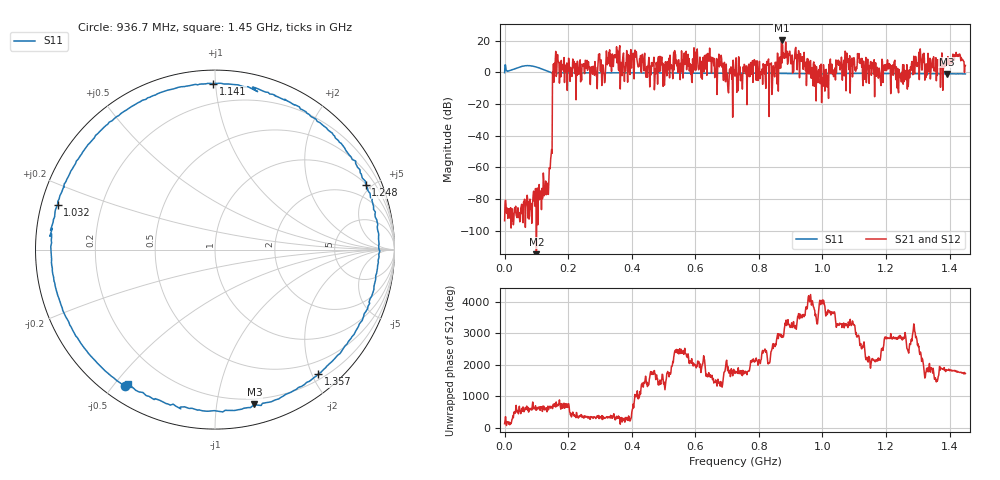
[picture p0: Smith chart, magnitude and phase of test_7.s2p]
! Created with skrf 1.11.0 (http://scikit-rf.org).
# Hz S RI R 50.0
!freq ReS11 ImS11 ReS21 ImS21 ReS12 ImS12 ReS22 ImS22
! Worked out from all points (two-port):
!   1001 points, 50 kHz to 1.45 GHz, reference 50 ohm
!   highest |S21| = 20.16 dB at 871.5 MHz (marker M1); lowest = -117.0 dB at 100.1 MHz (marker M2)
!   |S21| within 3 dB of the highest: 871.0842 MHz to 871.7748 MHz (690.7 kHz wide, 0.0793 % of centre); 874.3212 MHz to 874.4464 MHz (125.2 kHz wide, 0.0143 % of centre) (the widest 2 of 3)
!   lowest |S11| = -1.0 dB at 1.392 GHz (marker M3), VSWR 17.22, Z = 7.67 - j63.7 ohm
!   |S11| at or under -10 dB: nowhere
!   |S22| runs from - to - dB; largest |S21 - S12| = 0
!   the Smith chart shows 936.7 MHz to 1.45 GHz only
!   S11 on the Smith chart (normalised r, x): 936.7 MHz: 0.06, -0.54; 1.032 GHz: 0.05, +0.14; 1.141 GHz: 0.08, +0.99; 1.248 GHz: 1.07, +4.65; 1.357 GHz: 0.28, -2.10; 1.45 GHz: 0.07, -0.54
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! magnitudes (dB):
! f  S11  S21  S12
! 50 kHz  -0.2  -93.8  -93.8
! 100.1 MHz  3.3  -117.0  -117.0
! 139.2 MHz  0.4  -67.7  -67.7
! 158.1 MHz  -0.3  0.0  0.0
! 161 MHz  -0.3  13.3  13.3
! 242.2 MHz  -0.3  -5.0  -5.0
! 484.3 MHz  -0.4  9.9  9.9
! 645.3 MHz  -0.6  15.3  15.3
! 725 MHz  -0.5  -2.4  -2.4
! 839.6 MHz  -0.6  6.0  6.0
! 871.5 MHz  -0.7  20.2  20.2
! 936.7 MHz  -0.8  9.9  9.9
! 967.2 MHz  -0.8  -3.5  -3.5
! 1.032 GHz  -0.8  -1.1  -1.1
! 1.118 GHz  -0.7  8.2  8.2
! 1.141 GHz  -0.7  5.2  5.2
! 1.209 GHz  -0.7  5.6  5.6
! 1.248 GHz  -0.8  -6.1  -6.1
! 1.314 GHz  -0.8  1.5  1.5
! 1.357 GHz  -0.9  9.2  9.2
! 1.392 GHz  -1.0  8.8  8.8
! 1.45 GHz  -1.0  4.4  4.4
